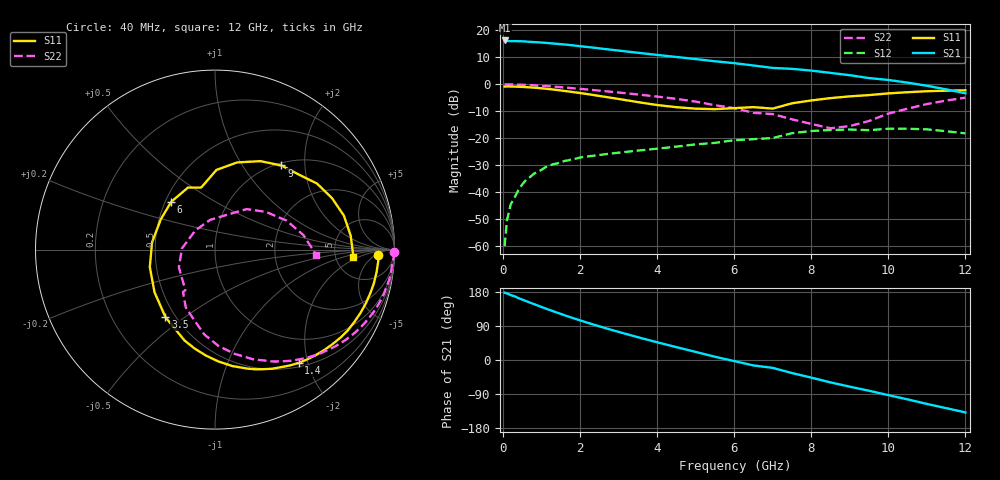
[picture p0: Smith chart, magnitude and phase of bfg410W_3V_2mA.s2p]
! Filename: 32bfg410.001
! BFG410W Field B1
! V1=8.307E-001V,V2=3.000E+000V, I1=2.654E-005A, I2=2.000E-003A
# GHz  S  MA  R 50
!  S11  S21  S12  S22
!Freq(GHz)  Mag  Ang  Mag  Ang  Mag  Ang  Mag  Ang
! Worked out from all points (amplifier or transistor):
!   44 points, 40 MHz to 12 GHz, reference 50 ohm
!   highest |S21| = 16.2 dB at 40 MHz (marker M1)
!   |S21| within 3 dB of that: start of sweep to 2.542 GHz
!   unconditionally stable (mu >= 1): 3.367 GHz to end of sweep
!   at 700 MHz: K = 0.18, MSG = 25.1 dB, |S12| = -34.4 dB
!   at 2.4 GHz: K = 0.65, MSG = 19.9 dB, |S12| = -26.4 dB
!   at 12 GHz: K = 1.86, MAG = 2.1 dB, |S12| = -18.2 dB
!   S11 on the Smith chart (normalised r, x): 40 MHz: 18, -6; 1.4 GHz: 0.56, -1.85; 3.5 GHz: 0.44, -0.43; 6 GHz: 0.54, +0.33; 9 GHz: 1.04, +1.52; 12 GHz: 7.48, -1.45
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0.04  0.907 -1.9  6.481 177.7  0.001 54.2  0.997 -0.7
0.1  0.912 -4.0  6.346 175.6  0.003 88.3  0.997 -2.3
0.2  0.909 -7.9  6.289 171.3  0.006 82.7  0.99 -5.1
0.4  0.899 -15.6  6.281 163.3  0.011 78.5  0.985 -10.0
0.9  0.854 -35.1  5.994 143.7  0.024 65.5  0.948 -21.9
1.2  0.813 -46.3  5.771 132.3  0.031 58.7  0.917 -28.6
1.4  0.785 -53.5  5.613 125.1  0.034 54.4  0.895 -32.9
1.8  0.719 -67.9  5.269 111.1  0.041 46.8  0.846 -40.9
2.2  0.656 -81.5  4.893 98.1  0.046 40.5  0.798 -48.5
2.8  0.562 -101.8  4.367 79.9  0.052 33.1  0.726 -59.1
3.5  0.467 -126.2  3.833 60.2  0.059 26.6  0.646 -71.0
4  0.412 -144.9  3.495 46.7  0.064 22.6  0.591 -79.3
4.5  0.376 -165.0  3.202 33.9  0.07 18.5  0.536 -88.1
5  0.353 173.5  2.931 21.3  0.077 13.6  0.477 -97.1
6  0.361 132.5  2.46 -2.8  0.092 3.2  0.361 -116.8
6.5  0.377 113.6  2.227 -14.4  0.096 -2.6  0.296 -127.0
7  0.354 102.6  2.007 -20.8  0.101 7.3  0.28 -126.2
7.5  0.444 88.9  1.93 -34.5  0.124 -9.1  0.224 -153.9
8.5  0.554 62.8  1.625 -59.2  0.142 -32.5  0.153 135.6
9  0.597 51.7  1.471 -70.4  0.145 -42.3  0.168 99.3
10.5  0.712 23.8  1.071 -104.0  0.15 -73.1  0.353 36.5
12  0.772 -2.9  0.681 -138.3  0.123 -113.4  0.564 -2.9
